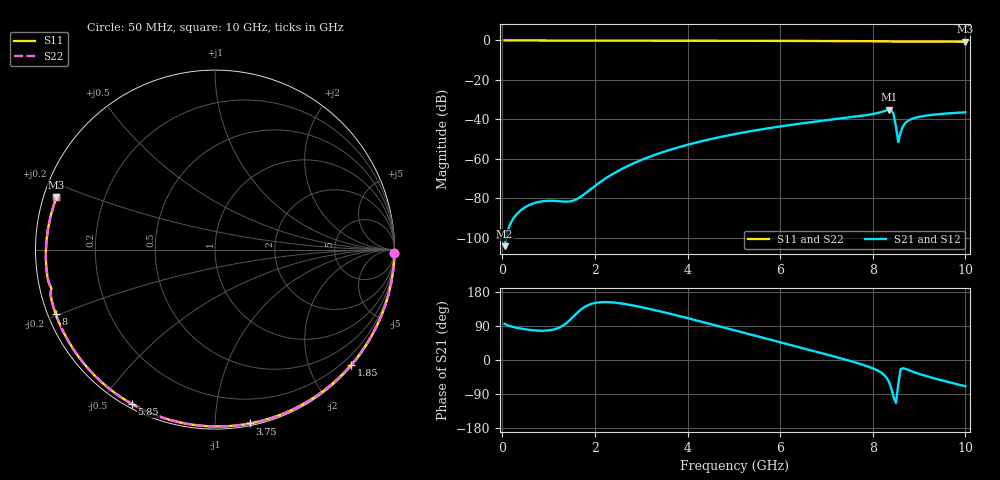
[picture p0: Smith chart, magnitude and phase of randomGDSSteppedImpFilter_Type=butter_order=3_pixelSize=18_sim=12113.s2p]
! freq	dB(S11)	phase(S11)	dB(S12)	phase(S12)
!  dB(S21)	phase(S21)	dB(S22)	phase(S22)
!S-par simulation data
#  GHz  S  DB  R 50
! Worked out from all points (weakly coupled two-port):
!   200 points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, 50 MHz to 10 GHz, reference 50 ohm
!   highest |S21| = -35.11 dB at 8.35 GHz (marker M1); lowest = -104.4 dB at 50 MHz (marker M2)
!   lowest |S11| = -0.6 dB at 10 GHz (marker M3), VSWR 27.53, Z = 1.86 + j8 ohm
!   |S11| at or under -10 dB: nowhere
!   |S22| runs from -0.6 to 0.0 dB; largest |S21 - S12| = 0
!   S11 on the Smith chart (normalised r, x): 50 MHz: open; 1.85 GHz: 0.02, -2.74; 3.75 GHz: 0.02, -1.22; 5.85 GHz: 0.02, -0.60; 8 GHz: 0.02, -0.20; 10 GHz: 0.04, +0.16
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0.05  -0.00 -1.1  -104.37 95.4  -104.37 95.4  -0.00 -1.1
0.8  -0.02 -17.6  -81.86 77.4  -81.86 77.4  -0.02 -17.6
1.65  -0.05 -35.9  -79.96 128.1  -79.96 128.1  -0.05 -35.9
1.75  -0.05 -38.0  -78.36 137.7  -78.36 137.7  -0.05 -38.0
1.85  -0.05 -40.1  -76.56 144.6  -76.56 144.6  -0.05 -40.1
2.55  -0.07 -54.7  -65.58 149.6  -65.58 149.6  -0.07 -54.7
3.4  -0.10 -71.9  -57.17 128.5  -57.17 128.5  -0.10 -71.9
3.75  -0.11 -78.8  -54.57 118.1  -54.57 118.1  -0.11 -78.8
5.05  -0.16 -103.5  -47.37 77.3  -47.37 77.3  -0.16 -103.5
5.85  -0.20 -118.2  -44.15 51.7  -44.15 51.7  -0.20 -118.3
6.7  -0.26 -133.7  -41.35 24.4  -41.35 24.4  -0.26 -133.8
8  -0.38 -157.9  -37.30 -22.0  -37.30 -22.0  -0.38 -157.9
8.35  -0.46 -164.9  -35.11 -57.7  -35.11 -57.7  -0.46 -164.9
8.4  -0.51 -165.9  -35.27 -74.5  -35.27 -74.5  -0.51 -165.9
8.45  -0.56 -166.6  -37.40 -98.2  -37.40 -98.2  -0.57 -166.6
8.5  -0.56 -167.1  -43.70 -113.4  -43.70 -113.4  -0.56 -167.1
8.55  -0.52 -167.9  -51.49 -65.8  -51.49 -65.8  -0.53 -167.9
8.6  -0.50 -168.9  -46.73 -24.7  -46.73 -24.7  -0.50 -168.9
8.65  -0.49 -169.9  -43.63 -21.5  -43.63 -21.5  -0.49 -169.9
8.8  -0.49 -172.9  -40.25 -28.0  -40.25 -28.0  -0.49 -172.9
9.2  -0.53 178.9  -37.97 -44.0  -37.97 -44.0  -0.53 178.9
10  -0.63 161.8  -36.45 -69.3  -36.45 -69.3  -0.63 161.8
